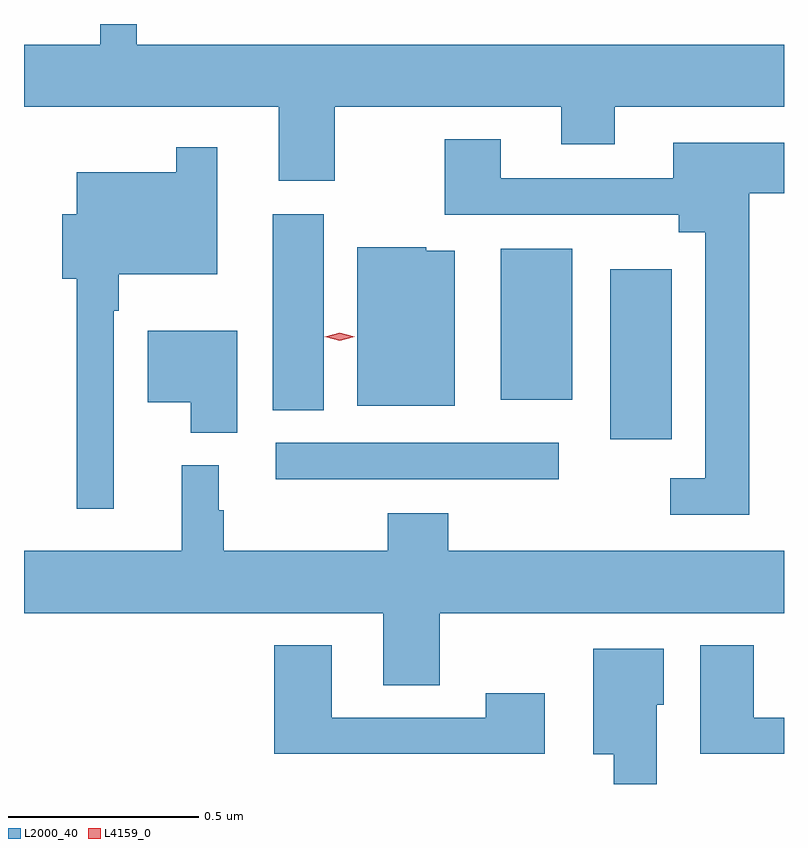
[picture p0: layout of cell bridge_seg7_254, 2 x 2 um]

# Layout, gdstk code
import gdstk
lib = gdstk.Library(unit=1e-6, precision=1e-09)
def R(c, l, rs):  # rectangles x0, y0, x1, y1
    for r in rs: c.add(gdstk.rectangle(r[:2], r[2:], *l))
def P(c, l, *ps):  # polygons
    for p in ps: c.add(gdstk.Polygon(p, *l))
L2000_40 = (2000, 40)
L4159_0 = (4159, 0)

bridge_seg7_254 = lib.new_cell('bridge_seg7_254')
R(bridge_seg7_254, L2000_40, [(229.971,1048.92,230.716,1049.016), (230.852,1049.025,231.013,1049.473), (229.964,1049.101,230.098,1049.617), (230.564,1049.129,230.752,1049.527)])
P(bridge_seg7_254, L2000_40, [(230.127,1049.9),(230.723,1049.9),(230.723,1049.801),(230.863,1049.801),(230.863,1049.9),(231.309,1049.9),(231.309,1050.064),(229.606,1050.064),(229.606,1050.118),(229.509,1050.118),(229.509,1050.064),(229.309,1050.064),(229.309,1049.9),(229.979,1049.9),(229.979,1049.706),(230.127,1049.706)],
  [(231.218,1049.672),(231.309,1049.672),(231.309,1049.806),(231.017,1049.806),(231.017,1049.712),(230.563,1049.712),(230.563,1049.815),(230.416,1049.815),(230.416,1049.616),(231.032,1049.616),(231.032,1049.57),(231.102,1049.57),(231.102,1048.923),(231.009,1048.923),(231.009,1048.827),(231.218,1048.827)],
  [(229.545,1049.363),(229.558,1049.363),(229.558,1049.459),(229.818,1049.459),(229.818,1049.794),(229.71,1049.794),(229.71,1049.728),(229.448,1049.728),(229.448,1049.617),(229.409,1049.617),(229.409,1049.447),(229.448,1049.447),(229.448,1048.842),(229.545,1048.842)],
  [(230.443,1049.521),(230.367,1049.521),(230.367,1049.53),(230.186,1049.53),(230.186,1049.114),(230.443,1049.114)],
  [(229.87,1049.311),(229.634,1049.311),(229.634,1049.123),(229.748,1049.123),(229.748,1049.042),(229.87,1049.042)],
  [(230.403,1048.568),(231.309,1048.568),(231.309,1048.732),(230.426,1048.732),(230.426,1048.831),(230.266,1048.831),(230.266,1048.732),(229.834,1048.732),(229.834,1048.839),(229.822,1048.839),(229.822,1048.957),(229.724,1048.957),(229.724,1048.732),(229.309,1048.732),(229.309,1048.568),(230.255,1048.568),(230.255,1048.378),(230.403,1048.378)],
  [(231.309,1048.293),(231.229,1048.293),(231.229,1048.483),(231.089,1048.483),(231.089,1048.197),(231.309,1048.197)],
  [(230.68,1048.357),(230.524,1048.357),(230.524,1048.293),(230.119,1048.293),(230.119,1048.483),(229.967,1048.483),(229.967,1048.197),(230.68,1048.197)],
  [(230.974,1048.326),(230.992,1048.326),(230.992,1048.474),(230.807,1048.474),(230.807,1048.196),(230.861,1048.196),(230.861,1048.118),(230.974,1048.118)])
P(bridge_seg7_254, L4159_0, [(230.14,1049.285),(230.101,1049.295),(230.1,1049.295),(230.101,1049.295),(230.14,1049.305),(230.179,1049.295),(230.179,1049.295),(230.179,1049.295)])

lib.write_gds('bridge_seg7_254.gds')
